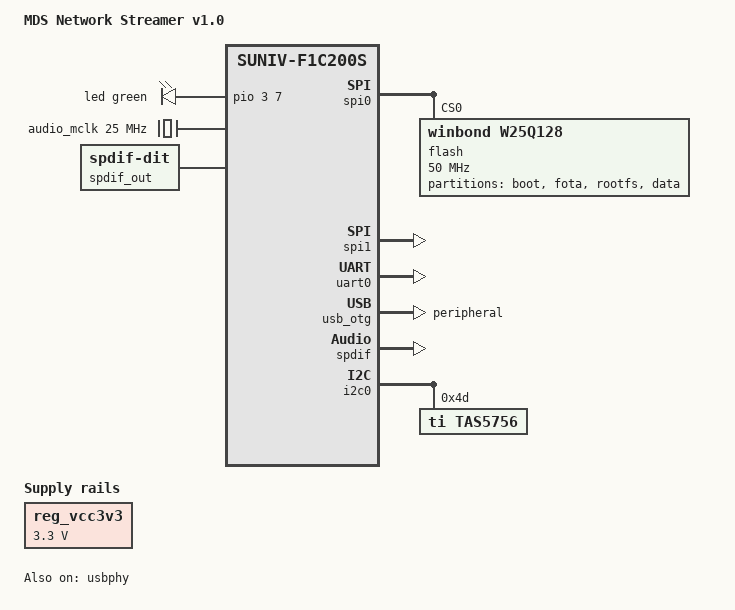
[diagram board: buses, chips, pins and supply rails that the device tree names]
// SPDX-License-Identifier: (GPL-2.0+ OR MIT)
/*
 * Copyright 2024 Nicolas Aguirre <aguirre.nicolas@gmail.com>
 */

/dts-v1/;
#include "suniv-f1c100s.dtsi"

#include <dt-bindings/gpio/gpio.h>
#include <dt-bindings/leds/common.h>

/ {
	model = "MDS Network Streamer v1.0";
	compatible = "mds,network-streamer-v1.0",
		     "allwinner,suniv-f1c200s";

	aliases {
		serial0 = &uart0;
		i2c0 = &i2c0;
	};

	chosen {
		stdout-path = "serial0:115200n8";
	};

	leds {
		compatible = "gpio-leds";

		led {
			function = LED_FUNCTION_STATUS;
			color = <LED_COLOR_ID_GREEN>;
			gpios = <&pio 3 7 GPIO_ACTIVE_HIGH>; /* PD7 */
			linux,default-trigger = "heartbeat";
		};
	};

	reg_vcc3v3: regulator-3v3 {
		compatible = "regulator-fixed";
		regulator-name = "vcc3v3";
		regulator-min-microvolt = <3300000>;
		regulator-max-microvolt = <3300000>;
	};

	audio_mclk: audio-clock {
		compatible = "fixed-clock";
		#clock-cells = <0>;
		clock-frequency = <25000000>;
	};



	// es9023: pcm5102a {
	// 	#sound-dai-cells = <0>;
	// 	compatible = "ti,pcm5102a";
	// };

	spdif_out: spdif-out {
		#sound-dai-cells = <0>;
		compatible = "linux,spdif-dit";
	};

	// sound-i2s {
	// 	compatible = "simple-audio-card";
	// 	simple-audio-card,name = "tas5756";
	// 	simple-audio-card,format = "i2s";
	// 	simple-audio-card,mclk-fs = <256>;
		
	// 	simple-audio-card,cpu {
	// 		#sound-dai-cells = <0>;
	// 		sound-dai = <&i2s0>;
	// 	};

	// 	simple-audio-card,codec {
	// 		sound-dai = <&tas5756>;
	// 	};
	// };

	// sound-i2s {
	// 	compatible = "simple-audio-card";
    //     simple-audio-card,name = "JustBoom AMP zero";
	// 	simple-audio-card,format = "i2s";
	// 	simple-audio-card,mclk-fs = <512>;
	// 	simple-audio-card,cpu {
	// 		sound-dai = <&i2s0>;
	// 	};
	// 	simple-audio-card,codec {
	// 		sound-dai = <&tas5756>;
	// 	};
	// };
	sound-spdif {
		compatible = "simple-audio-card";
		simple-audio-card,name = "On-board SPDIF";

		simple-audio-card,cpu {
			sound-dai = <&spdif>;
		};

		simple-audio-card,codec {
			sound-dai = <&spdif_out>;
		};
	};
};



&otg_sram {
	status = "okay";
};

&spi0 {
	pinctrl-names = "default";
	pinctrl-0 = <&spi0_pc_pins>;
	status = "okay";
	flash@0 {
		#address-cells = <1>;
		#size-cells = <1>;
		compatible = "winbond,w25q128", "spi-nand";
		reg = <0>;
		spi-max-frequency = <50000000>;
		partitions {
			compatible = "fixed-partitions";
			#address-cells = <1>;
			#size-cells = <1>;

			partition@0 {
				label = "boot";
				reg = <0 0x100000>;
			};

			partition@100000 {
				label = "fota";
				reg = <0x0100000 0x0f00000>;
			};

			partition@1000000 {
				label = "rootfs";
				reg = <0x1000000 0x3800000>;
			};

			partition@4800000 {
				label = "data";
				reg = <0x4800000 0x3800000>;
			};
		};
	};

};

&spi1 {
	pinctrl-names = "default";
	pinctrl-0 = <&spi1_pe_pins>;
	status = "okay";
	
 	// spidev@0{
    //     compatible = "rohm,dh2228fv";
    //     reg = <0>;
    //     spi-max-frequency = <40000000>;
    // };
};

&uart0 {
	pinctrl-names = "default";
	pinctrl-0 = <&uart0_pe_pins>;
	status = "okay";
};


// &uart1 {
// 	pinctrl-names = "default";
// 	pinctrl-0 = <&uart1_pd_pins>;
// 	status = "okay";
// };

&usb_otg {
	dr_mode = "peripheral";
	status = "okay";
};

&usbphy {
	//usb0_id_det-gpios = <&pio 5 0 GPIO_ACTIVE_HIGH>; /* PF0 */
	status = "okay";
};


&spdif {
	pinctrl-names = "default";
	pinctrl-0 = <&spdif_tx_pe_pin>;
	status = "okay";
};

&i2s0 {
	pinctrl-names = "default";
	pinctrl-0 = <&i2s_pe_pins>;
	status = "disabled";
};

&i2c0 {
	status = "okay";
	pinctrl-names = "default";
	pinctrl-0 = <&i2c0_pd_pins>;
	
	tas5756: tas5756@4d {
		#sound-dai-cells = <0>;
		compatible = "ti,tas5756";
		reg = <0x4d>;
		status = "okay";
		//clocks =<&ccu CLK_I2S>;
		//clocks = <&audio_mclk>;

		// pll-in = <3>;
		// pll-out = <6>;
	};


};
